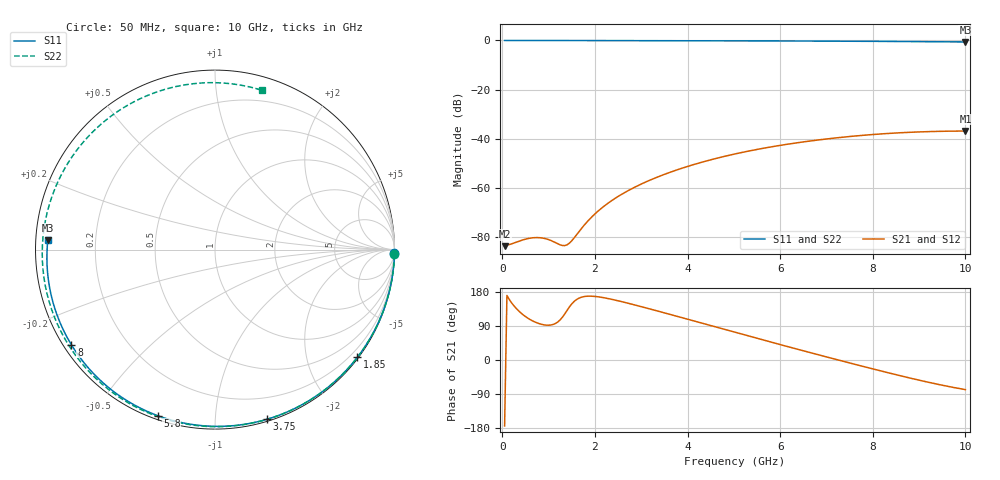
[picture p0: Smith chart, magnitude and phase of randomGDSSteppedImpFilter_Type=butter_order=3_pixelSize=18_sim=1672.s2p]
! freq	dB(S11)	phase(S11)	dB(S12)	phase(S12)
!  dB(S21)	phase(S21)	dB(S22)	phase(S22)
!S-par simulation data
#  GHz  S  DB  R 50
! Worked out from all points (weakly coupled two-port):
!   200 points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, 50 MHz to 10 GHz, reference 50 ohm
!   highest |S21| = -36.81 dB at 10 GHz (marker M1); lowest = -83.6 dB at 50 MHz (marker M2)
!   lowest |S11| = -0.6 dB at 10 GHz (marker M3), VSWR 28.83, Z = 1.74 + j1.45 ohm
!   |S11| at or under -10 dB: nowhere
!   |S22| runs from -0.7 to 0.0 dB; largest |S21 - S12| = 0
!   S11 on the Smith chart (normalised r, x): 50 MHz: open; 1.85 GHz: 0.03, -2.98; 3.75 GHz: 0.02, -1.35; 5.8 GHz: 0.02, -0.71; 8 GHz: 0.02, -0.30; 10 GHz: 0.03, +0.03
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0.05  -0.00 -1.0  -83.59 -173.9  -83.59 -173.9  -0.00 -1.5
0.75  -0.02 -15.2  -80.10 98.0  -80.10 98.0  -0.02 -22.0
1.55  -0.04 -31.2  -80.26 154.4  -80.26 154.4  -0.06 -44.9
1.75  -0.04 -35.2  -75.46 167.0  -75.46 167.0  -0.06 -50.5
1.85  -0.05 -37.1  -73.31 168.4  -73.31 168.4  -0.07 -53.3
2.15  -0.06 -43.0  -68.04 165.3  -68.04 165.3  -0.08 -61.6
2.5  -0.06 -49.7  -63.39 156.3  -63.39 156.3  -0.09 -71.1
2.9  -0.07 -57.3  -59.25 144.0  -59.25 144.0  -0.10 -81.7
3.4  -0.09 -66.6  -55.13 127.7  -55.13 127.7  -0.12 -94.8
3.75  -0.10 -73.1  -52.72 116.1  -52.72 116.1  -0.14 -103.8
4.4  -0.12 -84.8  -49.00 94.2  -49.00 94.2  -0.17 -120.2
5.05  -0.15 -96.2  -46.01 72.3  -46.01 72.3  -0.20 -136.4
5.8  -0.19 -109.1  -43.26 47.3  -43.26 47.3  -0.26 -155.3
6.25  -0.21 -116.7  -41.90 32.5  -41.90 32.5  -0.29 -166.9
6.7  -0.24 -124.4  -40.72 17.8  -40.72 17.8  -0.33 -178.8
7.35  -0.30 -135.4  -39.31 -3.0  -39.31 -3.0  -0.39 163.2
8  -0.36 -146.5  -38.22 -23.5  -38.22 -23.5  -0.46 143.8
8.35  -0.39 -152.6  -37.76 -34.2  -37.76 -34.2  -0.50 132.7
8.8  -0.44 -160.6  -37.31 -47.5  -37.31 -47.5  -0.55 117.7
9.25  -0.50 -168.9  -37.01 -60.1  -37.01 -60.1  -0.60 101.8
9.65  -0.55 -176.5  -36.86 -70.2  -36.86 -70.2  -0.64 86.9
10  -0.60 176.7  -36.81 -78.2  -36.81 -78.2  -0.67 73.5
